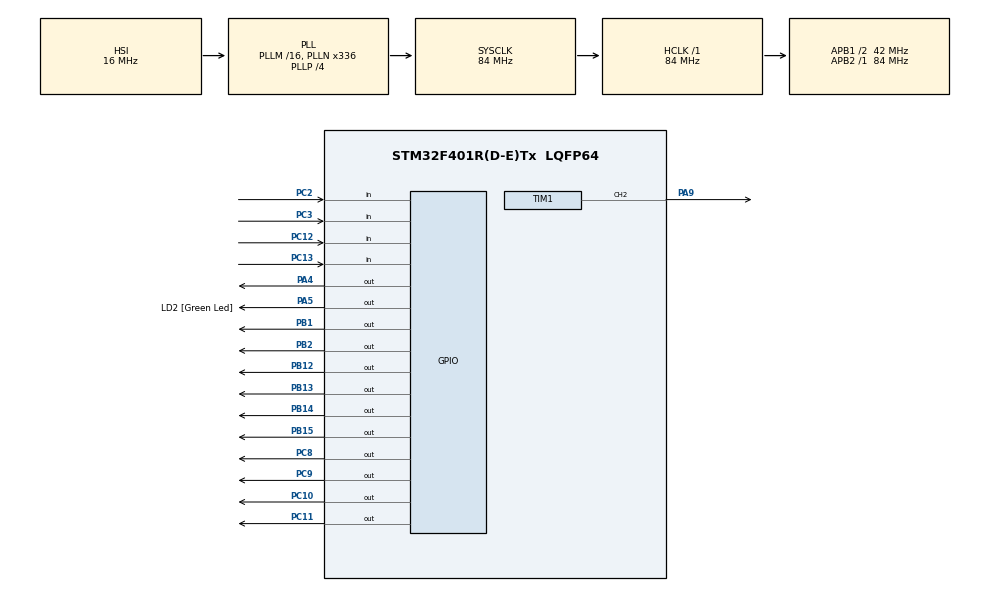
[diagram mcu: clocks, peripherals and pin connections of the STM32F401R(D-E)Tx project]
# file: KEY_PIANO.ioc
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Mcu.Family=STM32F4
Mcu.Name=STM32F401R(D-E)Tx
Mcu.Package=LQFP64
NVIC.PriorityGroup=NVIC_PRIORITYGROUP_4
NVIC.TIM2_IRQn=true\:0\:0\:false\:false\:true\:true\:true\:true
PA13.GPIO_Label=TMS
PA13.Mode=Trace_Asynchronous_SW
PA13.Signal=SYS_JTMS-SWDIO
PA14.GPIO_Label=TCK
PA14.Mode=Trace_Asynchronous_SW
PA14.Signal=SYS_JTCK-SWCLK
PA4.Signal=GPIO_Output
PA5.GPIO_Label=LD2 [Green Led]
PA5.GPIO_Mode=GPIO_MODE_OUTPUT_PP
PA5.GPIO_PuPd=GPIO_NOPULL
PA5.GPIO_Speed=GPIO_SPEED_FREQ_LOW
PA5.Signal=GPIO_Output
PA9.Signal=S_TIM1_CH2
PB1.Signal=GPIO_Output
PB12.Signal=GPIO_Output
PB13.Signal=GPIO_Output
PB14.Signal=GPIO_Output
PB15.Signal=GPIO_Output
PB2.Signal=GPIO_Output
PB3.GPIO_Label=SWO
PB3.Mode=Trace_Asynchronous_SW
PB3.Signal=SYS_JTDO-SWO
PC10.Signal=GPIO_Output
PC11.Signal=GPIO_Output
PC12.Signal=GPIO_Input
PC13-ANTI_TAMP.Signal=GPIO_Input
PC14-OSC32_IN.Mode=LSE-External-Oscillator
PC14-OSC32_IN.Signal=RCC_OSC32_IN
PC15-OSC32_OUT.Mode=LSE-External-Oscillator
PC15-OSC32_OUT.Signal=RCC_OSC32_OUT
PC2.Signal=GPIO_Input
PC3.Signal=GPIO_Input
PC8.Signal=GPIO_Output
PC9.Signal=GPIO_Output
PH0\ -\ OSC_IN.Mode=HSE-External-Clock-Source
PH0\ -\ OSC_IN.Signal=RCC_OSC_IN
PH1\ -\ OSC_OUT.Mode=HSE-External-Clock-Source
PH1\ -\ OSC_OUT.Signal=RCC_OSC_OUT
ProjectManager.HeapSize=0x200
ProjectManager.StackSize=0x400
ProjectManager.TargetToolchain=STM32CubeIDE
RCC.48MHZClocksFreq_Value=48000000
RCC.AHBFreq_Value=84000000
RCC.APB1CLKDivider=RCC_HCLK_DIV2
RCC.APB1Freq_Value=42000000
RCC.APB1TimFreq_Value=84000000
RCC.APB2Freq_Value=84000000
RCC.APB2TimFreq_Value=84000000
RCC.CortexFreq_Value=84000000
RCC.HCLKFreq_Value=84000000
RCC.HSE_VALUE=8000000
RCC.HSI_VALUE=16000000
RCC.PLLN=336
RCC.PLLP=RCC_PLLP_DIV4
RCC.PLLQ=7
RCC.SYSCLKFreq_VALUE=84000000
RCC.SYSCLKSource=RCC_SYSCLKSOURCE_PLLCLK
RCC.VCOOutputFreq_Value=336000000
SH.S_TIM1_CH2.0=TIM1_CH2,PWM Generation2 CH2
TIM1.AutoReloadPreload=TIM_AUTORELOAD_PRELOAD_ENABLE
TIM1.Channel-PWM\ Generation2\ CH2=TIM_CHANNEL_2
TIM1.Period=1909
TIM1.Prescaler=99
TIM1.Pulse-PWM\ Generation2\ CH2=954
TIM2.Period=3359
TIM2.Prescaler=99
VP_TIM1_VS_ClockSourceINT.Mode=Internal
VP_TIM2_VS_ClockSourceINT.Mode=Internal
board=NUCLEO-F401RE

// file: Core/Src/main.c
/* USER CODE BEGIN Header */
/**
  ******************************************************************************
  * @file           : main.c
  * @brief          : Main program body
  ******************************************************************************
  * @attention
  *
  * Copyright (c) 2026 STMicroelectronics.
  * All rights reserved.
  *
  * This software is licensed under terms that can be found in the LICENSE file
  * in the root directory of this software component.
  * If no LICENSE file comes with this software, it is provided AS-IS.
  *
  ******************************************************************************
  */
/* USER CODE END Header */
#include "main.h"

/* USER CODE BEGIN Includes */
#include "string.h"
#include "stdio.h"
#include "PMDB16_LCD.h"
/* USER CODE END Includes */

/* USER CODE BEGIN PTD */
typedef enum { KEY_IDLE, KEY_DEBOUNCE, KEY_PLAYING } KeyState;
// Per ogni tasto (4*4 = 16) ci possiamo torvare in 3 stati:
//     KEY_IDLE = il tasto non è premuto
//     KEY_DEBOUNCE = il tasto è premuto e contiamo per quanto tempo
//     KEY_PLAYING = il tasto è premuto per un tempo > DEBOUNCE, iniziamo a suonare finchè è premuto

// Definiamo una struttura "Note"
typedef struct {
    int Period;
    int Duration;
} Note;

/* USER CODE END PTD */

/* USER CODE BEGIN PD */
#define N_ROWS 4
#define N_COLS 4
#define DEBOUNCE_MS 30

#define COL_PORT GPIOC
#define ROW_PORT GPIOC

// LCD
#define LCD_SIZE 16

// SONG
#define PeriodFA4 2405   // F4 = 349.23 Hz
#define PeriodLA4 1909   // A4 = 440.00 Hz
#define PeriodSI4 1701   // B4 = 493.88 Hz
#define PeriodDO5 1605   // C5 = 523.25 Hz
#define PeriodRE5 1430   // D5 = 587.33 Hz
#define PeriodMI5 1274   // E5 = 659.25 Hz

#define SONG_SIZE 16
/* USER CODE END PD */

TIM_HandleTypeDef htim1;
TIM_HandleTypeDef htim2;

/* USER CODE BEGIN PV */
volatile KeyState key_state[N_ROWS][N_COLS] = {{KEY_IDLE}}; // All'inizio assumiamo che nessun tasto sia premuto
volatile uint32_t press_start[N_ROWS][N_COLS] = {{0}};
volatile uint8_t  current_col = 0; // Tenere traccia di dove siamo arrivati a leggere

// Così possiamo iterarci sopra
const uint16_t COL_PIN[N_COLS] = {GPIO_PIN_8, GPIO_PIN_9, GPIO_PIN_10, GPIO_PIN_11};
const uint16_t ROW_PIN[N_ROWS] = {GPIO_PIN_12, GPIO_PIN_13, GPIO_PIN_2, GPIO_PIN_3};

const char keymap[N_ROWS][N_COLS] = {
    {'0','1','2','3'},
    {'4','5','6','7'},
    {'8','9','A','B'},
    {'C','D','E','F'}
};

// LCD
char lcd_buffer_top[LCD_SIZE+1];
char lcd_buffer_bottom[LCD_SIZE+1];
int i=0;
int j=0;
int clear=0;

// SONG
Note Swan_Lake[N_ROWS][N_COLS] = {
		{{PeriodMI5, 4},{PeriodLA4, 1},{PeriodSI4, 1},{PeriodDO5, 1}},
		{{PeriodRE5, 1},{PeriodMI5, 3},{PeriodDO5, 1},{PeriodMI5, 3}},
		{{PeriodDO5, 1},{PeriodMI5, 3},{PeriodLA4, 1},{PeriodDO5, 1}},
		{{PeriodLA4, 1},{PeriodFA4, 1},{PeriodDO5, 1},{PeriodLA4, 4}}
};
/* USER CODE END PV */

void SystemClock_Config(void);
static void MX_GPIO_Init(void);
static void MX_TIM2_Init(void);
static void MX_TIM1_Init(void);
/* USER CODE BEGIN PFP */
void play_note(uint8_t r, uint8_t c);
/* USER CODE END PFP */

/* USER CODE BEGIN 0 */
void HAL_TIM_PeriodElapsedCallback(TIM_HandleTypeDef *htim)
{
    if (htim->Instance == TIM2)
    {
        // 1. leggo le righe con la colonna corrente
        for (int row = 0; row < N_ROWS; row++)
        {
            GPIO_PinState r = HAL_GPIO_ReadPin(ROW_PORT, ROW_PIN[row]);

            if (r == GPIO_PIN_RESET) // LOW -> tasto premuto
            {
                if (key_state[row][current_col] == KEY_IDLE)
                {
                    // Se ero in IDLE entro in DEBOUNCE
                	// Se non ero in IDLE non faccio nulla
                	key_state[row][current_col] = KEY_DEBOUNCE;
                    press_start[row][current_col] = HAL_GetTick(); // salvo il momento in cui è stato premuto
                }

            }
            else // HIGH -> tasto non premuto
            {
                if(key_state[row][current_col]==KEY_PLAYING){ // Se stavo suonando
                	HAL_TIM_PWM_Stop(&htim1, TIM_CHANNEL_2); // Smetto di suonare
                }

            	// Se non premo il tasto torno in IDLE
            	key_state[row][current_col] = KEY_IDLE;

            }
        }

        // 2. Aggiorniamo la colonna
        HAL_GPIO_WritePin(COL_PORT, COL_PIN[current_col], GPIO_PIN_RESET); // Colonna corrente ad alta impedenza (OFF)
        current_col = (current_col + 1) % N_COLS; // Prossima colonna
        HAL_GPIO_WritePin(COL_PORT, COL_PIN[current_col], GPIO_PIN_SET); // La porto a gnd (ON)
    }
}

void play_note(uint8_t r, uint8_t c){
    // Trova Periodo
	uint32_t Period=Swan_Lake[r][c].Period;

	// Aggiorna il Periodo (frequenza) nel registro del Timer
    // L'unica variabile da ri-inizializzare è quella di base (più veloce di HAL_TIM_Base_Init)
    // Usiamo una macro veloce che accede direttamente al registro
    __HAL_TIM_SET_AUTORELOAD(&htim1, Period - 1);

    // Aggiorna il Pulse (Duty Cycle)
    __HAL_TIM_SET_COMPARE(&htim1, TIM_CHANNEL_2, Period / 2);

    // Fai suonare nota
	HAL_TIM_PWM_Start(&htim1, TIM_CHANNEL_2);
}
/* USER CODE END 0 */

int main(void)
{

  /* MCU Configuration--------------------------------------------------------*/

  /* Reset of all peripherals, Initializes the Flash interface and the Systick. */
  HAL_Init();

  /* Configure the system clock */
  SystemClock_Config();

  /* Initialize all configured peripherals */
  MX_GPIO_Init();
  MX_TIM2_Init();
  MX_TIM1_Init();
  /* USER CODE BEGIN 2 */

  // LCD
  lcd_initialize();
  lcd_backlight_ON();

  // Selezioniamo la prima colonna
  HAL_GPIO_WritePin(COL_PORT, COL_PIN[0], GPIO_PIN_SET);
  // Deselezioniamo le altre
  for (int i=1; i<N_COLS; i++){
	  HAL_GPIO_WritePin(COL_PORT, COL_PIN[i], GPIO_PIN_RESET);
  }

  // Ora siamo pronti a far partire il Timer
  HAL_TIM_Base_Start_IT(&htim2);

  /* USER CODE END 2 */

  /* Infinite loop */
  while (1)
  {

    /* USER CODE BEGIN 3 */
	  for (int row = 0; row < N_ROWS; row++)
	      {
	          for (int col = 0; col < N_COLS; col++)
	          {

	        	  if (key_state[row][col] == KEY_DEBOUNCE &&
	                  (HAL_GetTick() - press_start[row][col]) >= DEBOUNCE_MS)
	              {
	                  // Il tasto è stato premuto oltre il DEBOUNCE
	            	  key_state[row][col] = KEY_PLAYING; // non reinviare finché non torna KEY_IDLE
	            	  play_note(row, col); // suona

	            	  // Scriviamo
	            	  if(clear){
	            		  clear=0;
	            		  lcd_clear();
	            	  }

	            	  if(j==0){
	            		  lcd_buffer_top[i]=keymap[row][col];
	            		  lcd_println(lcd_buffer_top, 0);
	            	  }else{
	            		  lcd_buffer_bottom[i]=keymap[row][col];
	            		  lcd_println(lcd_buffer_bottom, 1);
	            	  }

	                  // Spostiamo il cursore
	                  i++;
					  if(i==LCD_SIZE){
						  i=0;
						  j=(j+1)%2;

						  if(j==0){ // Resetta i buffer
							  memset(lcd_buffer_top, '\0', LCD_SIZE+1);
							  memset(lcd_buffer_bottom, '\0', LCD_SIZE+1);
							  clear=1;

						  }
					  }
	              }
	          }
	      }
  }
  /* USER CODE END 3 */
}

void SystemClock_Config(void)
{
  RCC_OscInitTypeDef RCC_OscInitStruct = {0};
  RCC_ClkInitTypeDef RCC_ClkInitStruct = {0};

  /** Configure the main internal regulator output voltage
  */
  __HAL_RCC_PWR_CLK_ENABLE();
  __HAL_PWR_VOLTAGESCALING_CONFIG(PWR_REGULATOR_VOLTAGE_SCALE2);

  /** Initializes the RCC Oscillators according to the specified parameters
  * in the RCC_OscInitTypeDef structure.
  */
  RCC_OscInitStruct.OscillatorType = RCC_OSCILLATORTYPE_HSI;
  RCC_OscInitStruct.HSIState = RCC_HSI_ON;
  RCC_OscInitStruct.HSICalibrationValue = RCC_HSICALIBRATION_DEFAULT;
  RCC_OscInitStruct.PLL.PLLState = RCC_PLL_ON;
  RCC_OscInitStruct.PLL.PLLSource = RCC_PLLSOURCE_HSI;
  RCC_OscInitStruct.PLL.PLLM = 16;
  RCC_OscInitStruct.PLL.PLLN = 336;
  RCC_OscInitStruct.PLL.PLLP = RCC_PLLP_DIV4;
  RCC_OscInitStruct.PLL.PLLQ = 7;
  if (HAL_RCC_OscConfig(&RCC_OscInitStruct) != HAL_OK)
  {
    Error_Handler();
  }

  /** Initializes the CPU, AHB and APB buses clocks
  */
  RCC_ClkInitStruct.ClockType = RCC_CLOCKTYPE_HCLK|RCC_CLOCKTYPE_SYSCLK
                              |RCC_CLOCKTYPE_PCLK1|RCC_CLOCKTYPE_PCLK2;
  RCC_ClkInitStruct.SYSCLKSource = RCC_SYSCLKSOURCE_PLLCLK;
  RCC_ClkInitStruct.AHBCLKDivider = RCC_SYSCLK_DIV1;
  RCC_ClkInitStruct.APB1CLKDivider = RCC_HCLK_DIV2;
  RCC_ClkInitStruct.APB2CLKDivider = RCC_HCLK_DIV1;

  if (HAL_RCC_ClockConfig(&RCC_ClkInitStruct, FLASH_LATENCY_2) != HAL_OK)
  {
    Error_Handler();
  }
}

static void MX_TIM1_Init(void)
{

  TIM_ClockConfigTypeDef sClockSourceConfig = {0};
  TIM_MasterConfigTypeDef sMasterConfig = {0};
  TIM_OC_InitTypeDef sConfigOC = {0};
  TIM_BreakDeadTimeConfigTypeDef sBreakDeadTimeConfig = {0};

  htim1.Instance = TIM1;
  htim1.Init.Prescaler = 99;
  htim1.Init.CounterMode = TIM_COUNTERMODE_UP;
  htim1.Init.Period = 1909;
  htim1.Init.ClockDivision = TIM_CLOCKDIVISION_DIV1;
  htim1.Init.RepetitionCounter = 0;
  htim1.Init.AutoReloadPreload = TIM_AUTORELOAD_PRELOAD_ENABLE;
  if (HAL_TIM_Base_Init(&htim1) != HAL_OK)
  {
    Error_Handler();
  }
  sClockSourceConfig.ClockSource = TIM_CLOCKSOURCE_INTERNAL;
  if (HAL_TIM_ConfigClockSource(&htim1, &sClockSourceConfig) != HAL_OK)
  {
    Error_Handler();
  }
  if (HAL_TIM_PWM_Init(&htim1) != HAL_OK)
  {
    Error_Handler();
  }
  sMasterConfig.MasterOutputTrigger = TIM_TRGO_RESET;
  sMasterConfig.MasterSlaveMode = TIM_MASTERSLAVEMODE_DISABLE;
  if (HAL_TIMEx_MasterConfigSynchronization(&htim1, &sMasterConfig) != HAL_OK)
  {
    Error_Handler();
  }
  sConfigOC.OCMode = TIM_OCMODE_PWM1;
  sConfigOC.Pulse = 954;
  sConfigOC.OCPolarity = TIM_OCPOLARITY_HIGH;
  sConfigOC.OCNPolarity = TIM_OCNPOLARITY_HIGH;
  sConfigOC.OCFastMode = TIM_OCFAST_DISABLE;
  sConfigOC.OCIdleState = TIM_OCIDLESTATE_RESET;
  sConfigOC.OCNIdleState = TIM_OCNIDLESTATE_RESET;
  if (HAL_TIM_PWM_ConfigChannel(&htim1, &sConfigOC, TIM_CHANNEL_2) != HAL_OK)
  {
    Error_Handler();
  }
  sBreakDeadTimeConfig.OffStateRunMode = TIM_OSSR_DISABLE;
  sBreakDeadTimeConfig.OffStateIDLEMode = TIM_OSSI_DISABLE;
  sBreakDeadTimeConfig.LockLevel = TIM_LOCKLEVEL_OFF;
  sBreakDeadTimeConfig.DeadTime = 0;
  sBreakDeadTimeConfig.BreakState = TIM_BREAK_DISABLE;
  sBreakDeadTimeConfig.BreakPolarity = TIM_BREAKPOLARITY_HIGH;
  sBreakDeadTimeConfig.AutomaticOutput = TIM_AUTOMATICOUTPUT_DISABLE;
  if (HAL_TIMEx_ConfigBreakDeadTime(&htim1, &sBreakDeadTimeConfig) != HAL_OK)
  {
    Error_Handler();
  }
  HAL_TIM_MspPostInit(&htim1);

}

static void MX_TIM2_Init(void)
{

  TIM_ClockConfigTypeDef sClockSourceConfig = {0};
  TIM_MasterConfigTypeDef sMasterConfig = {0};

  htim2.Instance = TIM2;
  htim2.Init.Prescaler = 99;
  htim2.Init.CounterMode = TIM_COUNTERMODE_UP;
  htim2.Init.Period = 3359;
  htim2.Init.ClockDivision = TIM_CLOCKDIVISION_DIV1;
  htim2.Init.AutoReloadPreload = TIM_AUTORELOAD_PRELOAD_DISABLE;
  if (HAL_TIM_Base_Init(&htim2) != HAL_OK)
  {
    Error_Handler();
  }
  sClockSourceConfig.ClockSource = TIM_CLOCKSOURCE_INTERNAL;
  if (HAL_TIM_ConfigClockSource(&htim2, &sClockSourceConfig) != HAL_OK)
  {
    Error_Handler();
  }
  sMasterConfig.MasterOutputTrigger = TIM_TRGO_RESET;
  sMasterConfig.MasterSlaveMode = TIM_MASTERSLAVEMODE_DISABLE;
  if (HAL_TIMEx_MasterConfigSynchronization(&htim2, &sMasterConfig) != HAL_OK)
  {
    Error_Handler();
  }

}

static void MX_GPIO_Init(void)
{
  GPIO_InitTypeDef GPIO_InitStruct = {0};

  /* GPIO Ports Clock Enable */
  __HAL_RCC_GPIOC_CLK_ENABLE();
  __HAL_RCC_GPIOH_CLK_ENABLE();
  __HAL_RCC_GPIOA_CLK_ENABLE();
  __HAL_RCC_GPIOB_CLK_ENABLE();

  /*Configure GPIO pin Output Level */
  HAL_GPIO_WritePin(GPIOA, GPIO_PIN_4|LD2_Pin, GPIO_PIN_RESET);

  /*Configure GPIO pin Output Level */
  HAL_GPIO_WritePin(GPIOB, GPIO_PIN_1|GPIO_PIN_2|GPIO_PIN_12|GPIO_PIN_13
                          |GPIO_PIN_14|GPIO_PIN_15, GPIO_PIN_RESET);

  /*Configure GPIO pin Output Level */
  HAL_GPIO_WritePin(GPIOC, GPIO_PIN_8|GPIO_PIN_9|GPIO_PIN_10|GPIO_PIN_11, GPIO_PIN_RESET);

  /*Configure GPIO pins : PC13 PC2 PC3 PC12 */
  GPIO_InitStruct.Pin = GPIO_PIN_13|GPIO_PIN_2|GPIO_PIN_3|GPIO_PIN_12;
  GPIO_InitStruct.Mode = GPIO_MODE_INPUT;
  GPIO_InitStruct.Pull = GPIO_NOPULL;
  HAL_GPIO_Init(GPIOC, &GPIO_InitStruct);

  /*Configure GPIO pins : PA4 LD2_Pin */
  GPIO_InitStruct.Pin = GPIO_PIN_4|LD2_Pin;
  GPIO_InitStruct.Mode = GPIO_MODE_OUTPUT_PP;
  GPIO_InitStruct.Pull = GPIO_NOPULL;
  GPIO_InitStruct.Speed = GPIO_SPEED_FREQ_LOW;
  HAL_GPIO_Init(GPIOA, &GPIO_InitStruct);

  /*Configure GPIO pins : PB1 PB2 PB12 PB13
                           PB14 PB15 */
  GPIO_InitStruct.Pin = GPIO_PIN_1|GPIO_PIN_2|GPIO_PIN_12|GPIO_PIN_13
                          |GPIO_PIN_14|GPIO_PIN_15;
  GPIO_InitStruct.Mode = GPIO_MODE_OUTPUT_PP;
  GPIO_InitStruct.Pull = GPIO_NOPULL;
  GPIO_InitStruct.Speed = GPIO_SPEED_FREQ_LOW;
  HAL_GPIO_Init(GPIOB, &GPIO_InitStruct);

  /*Configure GPIO pins : PC8 PC9 PC10 PC11 */
  GPIO_InitStruct.Pin = GPIO_PIN_8|GPIO_PIN_9|GPIO_PIN_10|GPIO_PIN_11;
  GPIO_InitStruct.Mode = GPIO_MODE_OUTPUT_PP;
  GPIO_InitStruct.Pull = GPIO_NOPULL;
  GPIO_InitStruct.Speed = GPIO_SPEED_FREQ_LOW;
  HAL_GPIO_Init(GPIOC, &GPIO_InitStruct);

}

void Error_Handler(void)
{
  __disable_irq();
  while (1)
  {
  }
}
